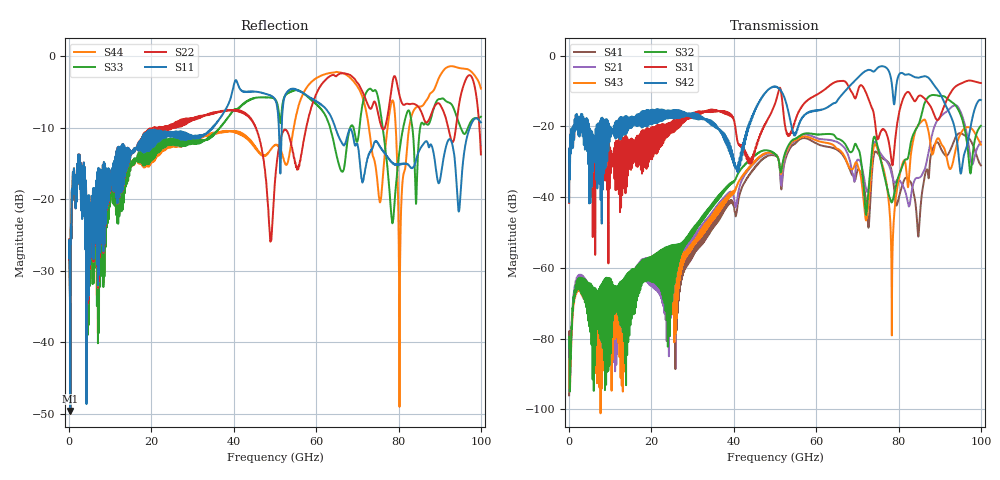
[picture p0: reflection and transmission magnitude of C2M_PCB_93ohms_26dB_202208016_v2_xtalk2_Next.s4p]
! Info: Touchstone file created by Circ.  Input file=Intel_C2M_200G_11p0in_202208016_staggered.circ
# Hz S RI R 50
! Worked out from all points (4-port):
!   10000 points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, 10 MHz to 100 GHz, reference 50 ohm
!   strongest paths, dB at 10 MHz, 25.01 GHz, 50.01 GHz, 75.01 GHz, 100 GHz:
!     S42: -41.3, -16.9, -8.7, -3.4, -12.5
!     S31: -41.6, -20.8, -13.6, -23.5, -7.7
!     S32: -79.4, -63.0, -27.9, -26.1, -19.8
!     S43: -87.5, -64.1, -28.0, -26.8, -25.1
!     S21: -80.5, -67.5, -28.0, -26.0, -24.4
!     S41: -96.0, -65.4, -28.2, -27.7, -31.0
!   lowest |S11| = -49.5 dB at 310 MHz (marker M1), VSWR 1.01, Z = 49.9 + j0.321 ohm
!   |S11| at or under -10 dB: start of sweep to 34.87 GHz; 50.94 GHz to 51.62 GHz (681 MHz wide, 1.33 % of centre); 64.65 GHz to 97.33 GHz (32.68 GHz wide, 40.4 % of centre)
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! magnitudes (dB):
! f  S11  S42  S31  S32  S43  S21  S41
! 10 MHz  -28.2  -41.3  -41.6  -79.4  -87.5  -80.5  -96.0
! 310 MHz  -49.5  -22.4  -22.4  -85.7  -88.8  -85.0  -85.3
! 56.29 GHz  -5.0  -18.3  -14.8  -22.5  -23.1  -22.6  -23.5
! 74.54 GHz  -12.0  -3.9  -21.3  -23.9  -25.4  -24.7  -27.1
! 78.42 GHz  -14.9  -8.4  -30.6  -41.4  -66.0  -33.8  -33.0
! 85.09 GHz  -13.1  -6.2  -11.3  -18.7  -19.2  -34.5  -46.9
! 100 GHz  -9.3  -12.5  -7.7  -19.8  -25.1  -24.4  -31.0
